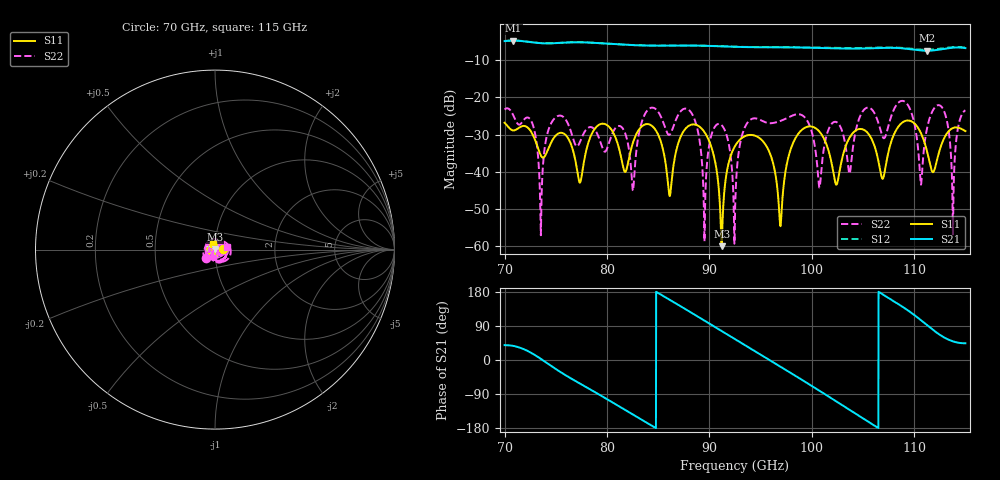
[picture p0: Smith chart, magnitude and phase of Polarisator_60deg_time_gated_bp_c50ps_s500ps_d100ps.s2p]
# Hz S RI R 1.000000
! Metas.Vna.Tools, 2.4.7898.19887
! Metas.Vna.Data, 2.4.7898.19873
! Created: UTC 2021.09.30 14:31:00
! FREQ  re:S1,1  im:S1,1  re:S2,1  im:S2,1  re:S1,2  im:S1,2  re:S2,2  im:S2,2
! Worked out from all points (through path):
!   2251 points, 70 GHz to 115 GHz, reference 1 ohm
!   highest |S21| = -4.69 dB at 70.84 GHz (marker M1); lowest = -7.4 dB at 111.2 GHz (marker M2)
!   lowest |S11| = -60.1 dB at 91.2 GHz (marker M3), VSWR 1.00, Z = 1 + j0.00193 ohm
!   |S11| at or under -10 dB: start of sweep to end of sweep
!   |S22| runs from -59.4 to -20.9 dB; largest |S21 - S12| = 0.091
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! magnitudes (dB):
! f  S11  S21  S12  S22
! 70 GHz  -26.8  -4.8  -4.8  -23.3
! 70.84 GHz  -28.9  -4.7  -4.6  -24.8
! 73.54 GHz  -35.6  -5.4  -5.4  -57.1
! 74.8 GHz  -30.9  -5.4  -5.4  -25.9
! 77.5 GHz  -41.6  -5.1  -5.1  -31.0
! 82.54 GHz  -32.1  -5.9  -5.9  -45.1
! 85 GHz  -30.0  -6.0  -6.0  -23.9
! 86.14 GHz  -46.5  -6.0  -6.0  -30.0
! 88.3 GHz  -27.3  -6.0  -6.0  -24.4
! 89.52 GHz  -29.3  -6.1  -6.1  -58.8
! 91.2 GHz  -60.1  -6.2  -6.2  -27.5
! 92.5 GHz  -33.1  -6.4  -6.3  -51.4
! 93.62 GHz  -30.3  -6.4  -6.4  -27.2
! 96.94 GHz  -54.7  -6.5  -6.4  -26.3
! 100 GHz  -27.9  -6.6  -6.5  -29.3
! 100.8 GHz  -29.3  -6.7  -6.6  -44.3
! 102.4 GHz  -43.5  -6.8  -6.7  -26.6
! 107.5 GHz  -34.5  -6.6  -6.5  -27.5
! 111.2 GHz  -34.4  -7.4  -7.1  -28.5
! 112.8 GHz  -31.8  -7.0  -6.7  -23.0
! 113.8 GHz  -28.2  -6.6  -6.4  -54.0
! 115 GHz  -29.1  -6.7  -6.5  -23.5
